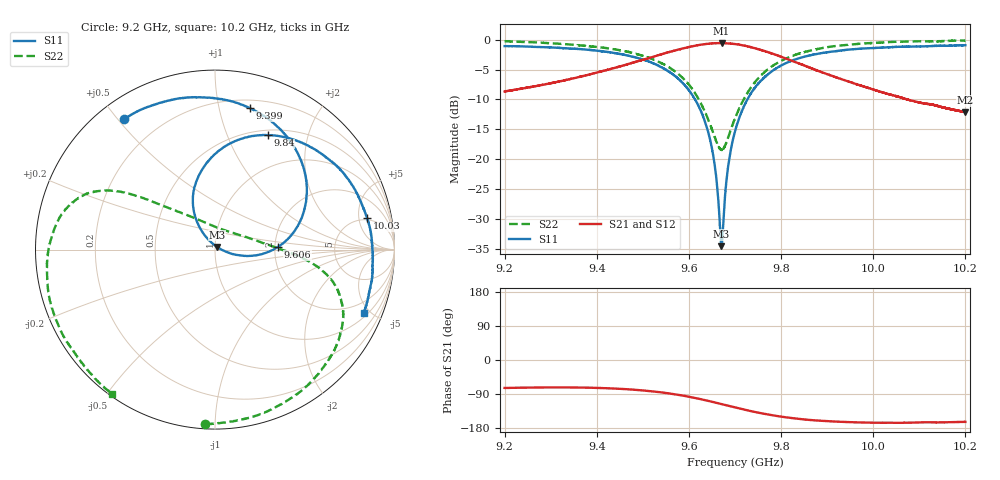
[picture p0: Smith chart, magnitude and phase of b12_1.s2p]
!Agilent Technologies,N5242A,MY51221714,A.09.90.19
!Agilent N5242A: A.09.90.19
!Date: Saturday, December 30, 2023 10:02:40
!Correction: S11(Full 2 Port(1,2))
!S21(Full 2 Port(1,2))
!S12(Full 2 Port(1,2))
!S22(Full 2 Port(1,2))
!S2P File: Measurements: S11, S21, S12, S22:
# Hz S  dB  R 50
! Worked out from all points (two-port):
!   16001 points, 9.2 GHz to 10.2 GHz, reference 50 ohm
!   highest |S21| = -0.55 dB at 9.671 GHz (marker M1); lowest = -12.1 dB at 10.2 GHz (marker M2)
!   |S21| within 3 dB of the highest: 9.490642 GHz to 9.490843 GHz (200.2 kHz wide, 0.00211 % of centre); 9.491 GHz to 9.824 GHz (333.4 MHz wide, 3.45 % of centre)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
!   lowest |S11| = -34.6 dB at 9.671 GHz (marker M3), VSWR 1.04, Z = 51.1 + j1.51 ohm
!   |S11| at or under -10 dB: 9.613 GHz to 9.727 GHz (113.4 MHz wide, 1.17 % of centre)
!   |S22| runs from -18.5 to -0.1 dB; largest |S21 - S12| = 0.012
!   S11 on the Smith chart (normalised r, x): 9.2 GHz: 0.08, +0.52; 9.399 GHz: 0.27, +1.24; 9.606 GHz: 2.07, +0.07; 9.84 GHz: 0.56, +1.41; 10.03 GHz: 4.64, +6.50; 10.2 GHz: 1.20, -4.55
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9.2e9  -1.06 125.0  -8.65 -73.8  -8.64 -74.5  -0.24 -93.1
9.278e9  -1.22 107.0  -7.62 -72.5  -7.61 -73.1  -0.48 -71.9
9.366688e9  -1.58 85.0  -6.14 -72.8  -6.13 -73.4  -0.95 -48.9
9.398875e9  -1.81 76.3  -5.52 -73.6  -5.51 -74.3  -1.19 -41.0
9.466688e9  -2.62 55.9  -4.10 -77.2  -4.09 -77.8  -2.01 -26.0
9.533375e9  -4.33 32.7  -2.59 -84.4  -2.58 -85.0  -3.64 -13.8
9.606188e9  -9.11 2.4  -1.09 -98.4  -1.10 -99.0  -8.11 -1.0
9.647e9  -17.12 -13.3  -0.63 -109.4  -0.63 -109.9  -14.37 20.8
9.657625e9  -21.93 -13.0  -0.58 -112.4  -0.57 -113.1  -16.65 35.9
9.670562e9  -34.58 52.1  -0.56 -116.3  -0.55 -116.9  -18.47 69.5
9.671e9  -34.46 60.0  -0.55 -116.4  -0.55 -117.0  -18.41 70.9
9.685438e9  -21.02 125.4  -0.60 -120.7  -0.59 -121.4  -16.26 107.2
9.7e9  -15.37 123.4  -0.71 -125.1  -0.69 -125.7  -13.16 124.7
9.7505e9  -7.35 101.6  -1.57 -138.8  -1.56 -139.6  -6.45 143.8
9.794812e9  -4.53 82.4  -2.70 -148.4  -2.69 -149.1  -3.75 149.7
9.839625e9  -3.07 65.4  -3.98 -155.5  -3.99 -156.1  -2.30 155.7
9.866688e9  -2.54 56.1  -4.80 -158.7  -4.79 -159.3  -1.74 159.8
9.950062e9  -1.62 31.8  -7.09 -164.0  -7.09 -164.6  -0.80 175.4
1.003194e10  -1.25 11.7  -9.07 -165.7  -9.06 -166.3  -0.39 -166.8
1.003338e10  -1.25 11.3  -9.10 -165.6  -9.09 -166.3  -0.38 -166.5
1.019994e10  -0.90 -23.3  -12.13 -163.3  -12.12 -164.0  -0.12 -125.5
1.02e10  -0.91 -23.3  -12.12 -163.3  -12.12 -163.9  -0.12 -125.5
